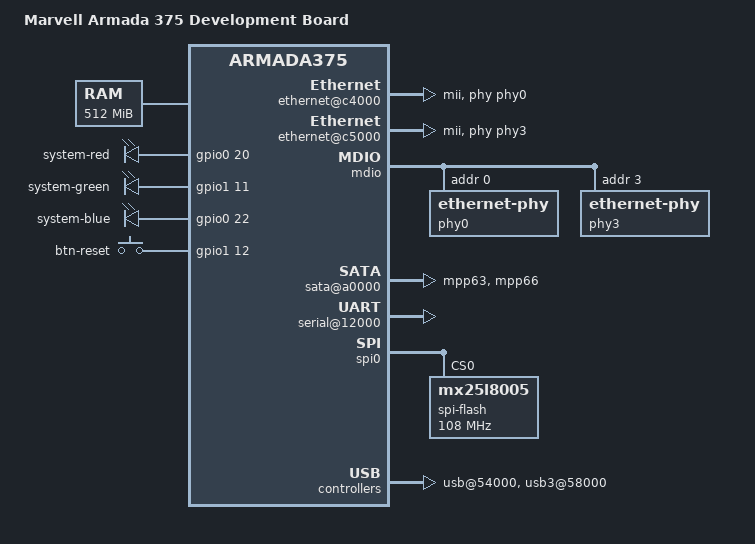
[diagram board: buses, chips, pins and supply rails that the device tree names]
/*
 * Device Tree file for Marvell Armada 375 evaluation board
 * (DB-88F6720)
 *
 *  Copyright (C) 2013 Marvell
 *
 * Gregory CLEMENT <gregory.clement@free-electrons.com>
 *
 * This file is licensed under the terms of the GNU General Public
 * License version 2.  This program is licensed "as is" without any
 * warranty of any kind, whether express or implied.
 */

/dts-v1/;
#include "armada-375.dtsi"

/ {
	model = "Marvell Armada 375 Development Board";
	compatible = "marvell,a375-db", "marvell,armada375";

	chosen {
		bootargs = "console=ttyS0,115200 earlyprintk";
	};

	memory {
		device_type = "memory";
		reg = <0x00000000 0x20000000>; /* 512 MB */
	};

	soc {

		ranges = <MBUS_ID(0xf0, 0x01) 0 0xf1000000 0x100000 /* internal regs */
			  MBUS_ID(0x01, 0x1d) 0 0xfff00000 0x100000  /* bootrom */
			  MBUS_ID(0x09, 0x09) 0 0xf1100000 0x10000   /* CESA0: PHYS=0xf1100000 size 64K */
			  MBUS_ID(0x09, 0x05) 0 0xf1110000 0x10000>; /* CESA1: PHYS=0xf1110000 size 64K */

		internal-regs {
			ethernet@c4000 {
				status = "okay";
				phy = <&phy0>;
				phy-mode = "mii";
			};

			ethernet@c5000 {
				status = "okay";
				phy = <&phy3>;
				phy-mode = "mii";
			};

			mdio {
				phy0: ethernet-phy@0 {
					reg = <0>;
				};

				phy3: ethernet-phy@3 {
					reg = <3>;
				};
			};

			i2c0: i2c@11000 {
				clock-frequency = <100000>;
				pinctrl-0 = <&i2c0_pins>;
				pinctrl-names = "default";
				status = "disabled";
			};

			i2c1: i2c@11100 {
				clock-frequency = <100000>;
				pinctrl-0 = <&i2c1_pins>;
				pinctrl-names = "default";
				status = "disabled";
			};

			mvsdio@d4000 {
				pinctrl-0 = <&sdio_pins &sdio_st_pins>;
				pinctrl-names = "default";
				status = "disabled";
				cd-gpios = <&gpio1 12 0>;
				wp-gpios = <&gpio1 13 0>;
			};

			pinctrl {
				sdio_st_pins: sdio-st-pins {
					marvell,pins = "mpp44", "mpp45";
					marvell,function = "gpio";
				};

				sata_sd_pins: sata-sd-pins {
					marvell,pins = "mpp63", "mpp66";
					marvell,function = "gpio";
				};

				sys_led_pins: sys-led-pins {
					marvell,pins = "mpp20", "mpp43", "mpp22"; // R G B
					marvell,function = "gpio";
				};

				btn_reset_pins: btn-reset-pins {
					marvell,pins = "mpp44";
					marvell,function = "gpio";
				};
			};

			gpio-leds {
				compatible = "gpio-leds";
				pinctrl-names = "default";
				pinctrl-0 = <&sys_led_pins>;

				system-r {
					label = "system-red";
					gpios = <&gpio0 20 0>;	// chip, pin, state (1=active-low)
					// Triggers: none nand-disk timer oneshot heartbeat backlight gpio cpu0 cpu1 default-on
					linux,default-trigger = "default-on";
				};
				system-g {
					label = "system-green";
					gpios = <&gpio1 11 0>; // 43 (mpp43) - 32 (gpio in chip) = 11 (pin in this chip)
					linux,default-trigger = "default-on";
				};
				lsystem-b {
					label = "system-blue";
					gpios = <&gpio0 22 0>;
//					linux,default-trigger = "default-off";
					linux,default-trigger = "default-on";
				};
			};

			gpio-keys {
				compatible = "gpio-keys";
				pinctrl-names = "default";
				pinctrl-0 = <&btn_reset_pins>;
				#address-cells = <1>;
				#size-cells = <0>;

				btn-reset {
					label = "btn-reset";
					gpios = <&gpio1 12 0>; // 44-32=12
					linux,code = <198>; // KEY_RESTART, from: include/uapi/linux/input-event-codes.h
					gpio-key,wakeup;
					//autorepeat;
				};
			};

			sata@a0000 {
				nr-ports = <2>;
				status = "okay";
				pinctrl-0 = <&sata_sd_pins>;
				pinctrl-names = "default";
				status = "okay";
				sd-gpios = <&gpio1 31 0>, <&gpio2 2 0>;
			};

			serial@12000 {
				status = "okay";
				clocks = <&coreclk 0>;
			};

			spi0: spi@10600 {
				pinctrl-0 = <&spi0_pins>;
				pinctrl-names = "default";
				status = "okay";

				spi-flash@0 {
					#address-cells = <1>;
					#size-cells = <1>;
					compatible = "mx25l8005"; // WDMC Gen2 - this is actually in my device
					//compatible = "n25q128a13"; // picked from running 3.10.39
					reg = <0>; // Chip select 0
					spi-max-frequency = <108000000>;
				};
			};

			usb@50000 {
				status = "disabled";
			};

			usb@54000 {
//				status = "disabled";
				status = "okay";
			};

			usb3@58000 {
				status = "okay";
			};

			nand: nand@d0000 {
				compatible = "marvell,armada-375-nand";
				reg = <0xd0000 0x54>;
				#address-cells = <1>;
				#size-cells = <1>;
				interrupts = <0 84 0x4>;
				clocks = <&coredivclk 0>, <&gateclk 11>;
				clock-names = "ecc_clk", "gateclk";
				status = "disabled";
				pinctrl-0 = <&nand_pins>;
				pinctrl-names = "default";
				nfc,nfc-mode = "normal";
				nfc,nfc-dma = <0x0>;
				nfc,nfc-width = <0x8>;
				nfc,ecc-type = <0x1>;
				nfc,num-cs = <0x1>;
				marvell,nand-keep-config;
				marvell,nand-enable-arbiter;
				nand-on-flash-bbt;

				partition@0 {
					label = "U-Boot";
					reg = <0x0 0x800000>;
					read-only;
				};

				partition@800000 {
					label = "Linux";
					reg = <0x800000 0x800000>;
					read-only;
				};

				partition@1000000 {
					label = "Filesystem";
					reg = <0x1000000 0x3f000000>;
				};
			};

			crypto@9D000 {
				status = "okay";
			};

			common-phy@18310 {
				status = "okay";
			};
		};

		pcie-controller {
			//status = "okay";
			status = "disabled";

			pcie@1,0 {
				status = "disabled";
			};
			pcie@2,0 {
				status = "disabled";
			};
		};
	};
};
